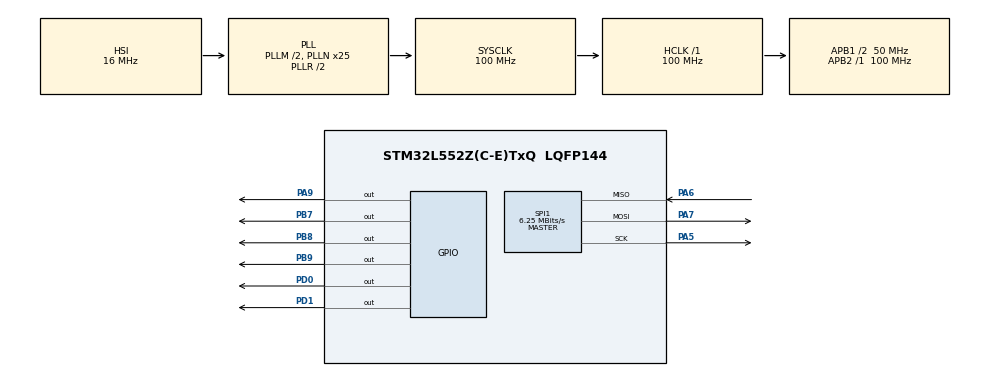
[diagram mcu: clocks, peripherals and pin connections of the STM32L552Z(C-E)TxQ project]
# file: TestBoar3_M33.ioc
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Mcu.Family=STM32L5
Mcu.Name=STM32L552Z(C-E)TxQ
Mcu.Package=LQFP144
NVIC.PriorityGroup=NVIC_PRIORITYGROUP_3
PA5.Mode=Full_Duplex_Master
PA5.Signal=SPI1_SCK
PA6.Mode=Full_Duplex_Master
PA6.Signal=SPI1_MISO
PA7.Mode=Full_Duplex_Master
PA7.Signal=SPI1_MOSI
PA9.Signal=GPIO_Output
PB7.Signal=GPIO_Output
PB8.PinAttribute=Free
PB8.Signal=GPIO_Output
PB9.PinAttribute=Free
PB9.Signal=GPIO_Output
PD0.Signal=GPIO_Output
PD1.Signal=GPIO_Output
PH0-OSC_IN\ (PH0).Mode=HSE-External-Oscillator
PH0-OSC_IN\ (PH0).Signal=RCC_OSC_IN
PH1-OSC_OUT\ (PH1).Mode=HSE-External-Oscillator
PH1-OSC_OUT\ (PH1).Signal=RCC_OSC_OUT
ProjectManager.HeapSize=0x200
ProjectManager.StackSize=0x400
ProjectManager.TargetToolchain=STM32CubeIDE
RCC.AHBFreq_Value=100000000
RCC.APB1CLKDivider=RCC_HCLK_DIV2
RCC.APB1Freq_Value=50000000
RCC.APB1TimFreq_Value=100000000
RCC.APB2Freq_Value=100000000
RCC.APB2TimFreq_Value=100000000
RCC.CortexFreq_Value=100000000
RCC.HCLKFreq_Value=100000000
RCC.HSE_VALUE=8000000
RCC.HSI48_VALUE=48000000
RCC.HSI_VALUE=16000000
RCC.LSE_VALUE=32768
RCC.MSI_VALUE=4000000
RCC.PLLM=2
RCC.PLLN=25
RCC.PLLSourceVirtual=RCC_PLLSOURCE_HSI
RCC.SYSCLKFreq_VALUE=100000000
RCC.SYSCLKSource=RCC_SYSCLKSOURCE_PLLCLK
RCC.VCOOutputFreq_Value=200000000
SPI1.BaudRatePrescaler=SPI_BAUDRATEPRESCALER_16
SPI1.CalculateBaudRate=6.25 MBits/s
SPI1.DataSize=SPI_DATASIZE_8BIT
SPI1.Direction=SPI_DIRECTION_2LINES
SPI1.Mode=SPI_MODE_MASTER
SPI1.VirtualType=VM_MASTER
VP_PWR_VS_DBSignals.Mode=DisableDeadBatterySignals
VP_PWR_VS_SECSignals.Mode=Security/Privilege
board=custom

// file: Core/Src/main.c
/* USER CODE BEGIN Header */
/**
  ******************************************************************************
  * @file           : main.c
  * @brief          : Main program body
  ******************************************************************************
  * @attention
  *
  * Copyright (c) 2022 STMicroelectronics.
  * All rights reserved.
  *
  * This software is licensed under terms that can be found in the LICENSE file
  * in the root directory of this software component.
  * If no LICENSE file comes with this software, it is provided AS-IS.
  *
  ******************************************************************************
  */
/* USER CODE END Header */
#include "main.h"

/* USER CODE BEGIN Includes */
#include "NRF24L01.h"
/* USER CODE END Includes */

SPI_HandleTypeDef hspi1;

void SystemClock_Config(void);
static void MX_GPIO_Init(void);
static void MX_SPI1_Init(void);

int main(void)
{

  /* MCU Configuration--------------------------------------------------------*/

  /* Reset of all peripherals, Initializes the Flash interface and the Systick. */
  HAL_Init();

  /* Configure the system clock */
  SystemClock_Config();

  /* Initialize all configured peripherals */
  MX_GPIO_Init();
  MX_SPI1_Init();
  /* USER CODE BEGIN 2 */

  NRF24_Init();
  uint8_t TxAddress[] = {0xEE,0xDD,0xCC,0xBB,0xAA};
  NRF24_TxMode(TxAddress, 10);
  //HAL_TIM_Base_Start(&htim2);
  //HAL_TIM_Base_Stop(&htim2);
  /* USER CODE END 2 */

  /* Infinite loop */
  /* USER CODE BEGIN WHILE */
  uint32_t tmp_uwTick;
  uint8_t cmdtosend = 0, TxData[4];

  HAL_Delay(500);
  CS_Select();
  cmdtosend = W_TX_PAYLOAD;
  HAL_SPI_Transmit(&hspi1, &cmdtosend, 1, 100);
  for (int i=0; i<4; i++){
  	TxData[i] = ((uwTick+2) >> 8*i) & 0b11111111;
  }
  tmp_uwTick=uwTick+2;
  while(uwTick!=tmp_uwTick);
  HAL_SPI_Transmit(&hspi1, TxData, 4, 1);
  CS_UnSelect();
  HAL_Delay(1);
  uint8_t fifostatus = nrf24_ReadReg(FIFO_STATUS);
  if ((fifostatus&(1<<4)) && (!(fifostatus&(1<<3)))){
	  HAL_GPIO_WritePin(GPIOB, GPIO_PIN_7, 1);
	  cmdtosend = FLUSH_TX;
	  nrfsendCmd(cmdtosend);
	  nrf24_reset(FIFO_STATUS);
  }

  while (1)
  {
	  HAL_GPIO_TogglePin(GPIOA, GPIO_PIN_9);
	  HAL_Delay(500);
    /* USER CODE END WHILE */

  }
}

void SystemClock_Config(void)
{
  RCC_OscInitTypeDef RCC_OscInitStruct = {0};
  RCC_ClkInitTypeDef RCC_ClkInitStruct = {0};

  /** Configure the main internal regulator output voltage
  */
  if (HAL_PWREx_ControlVoltageScaling(PWR_REGULATOR_VOLTAGE_SCALE0) != HAL_OK)
  {
    Error_Handler();
  }
  /** Initializes the RCC Oscillators according to the specified parameters
  * in the RCC_OscInitTypeDef structure.
  */
  RCC_OscInitStruct.OscillatorType = RCC_OSCILLATORTYPE_HSI;
  RCC_OscInitStruct.HSIState = RCC_HSI_ON;
  RCC_OscInitStruct.HSICalibrationValue = RCC_HSICALIBRATION_DEFAULT;
  RCC_OscInitStruct.PLL.PLLState = RCC_PLL_ON;
  RCC_OscInitStruct.PLL.PLLSource = RCC_PLLSOURCE_HSI;
  RCC_OscInitStruct.PLL.PLLM = 2;
  RCC_OscInitStruct.PLL.PLLN = 25;
  RCC_OscInitStruct.PLL.PLLP = RCC_PLLP_DIV7;
  RCC_OscInitStruct.PLL.PLLQ = RCC_PLLQ_DIV2;
  RCC_OscInitStruct.PLL.PLLR = RCC_PLLR_DIV2;
  if (HAL_RCC_OscConfig(&RCC_OscInitStruct) != HAL_OK)
  {
    Error_Handler();
  }
  /** Initializes the CPU, AHB and APB buses clocks
  */
  RCC_ClkInitStruct.ClockType = RCC_CLOCKTYPE_HCLK|RCC_CLOCKTYPE_SYSCLK
                              |RCC_CLOCKTYPE_PCLK1|RCC_CLOCKTYPE_PCLK2;
  RCC_ClkInitStruct.SYSCLKSource = RCC_SYSCLKSOURCE_PLLCLK;
  RCC_ClkInitStruct.AHBCLKDivider = RCC_SYSCLK_DIV1;
  RCC_ClkInitStruct.APB1CLKDivider = RCC_HCLK_DIV2;
  RCC_ClkInitStruct.APB2CLKDivider = RCC_HCLK_DIV1;

  if (HAL_RCC_ClockConfig(&RCC_ClkInitStruct, FLASH_LATENCY_4) != HAL_OK)
  {
    Error_Handler();
  }
}

static void MX_SPI1_Init(void)
{

  /* SPI1 parameter configuration*/
  hspi1.Instance = SPI1;
  hspi1.Init.Mode = SPI_MODE_MASTER;
  hspi1.Init.Direction = SPI_DIRECTION_2LINES;
  hspi1.Init.DataSize = SPI_DATASIZE_8BIT;
  hspi1.Init.CLKPolarity = SPI_POLARITY_LOW;
  hspi1.Init.CLKPhase = SPI_PHASE_1EDGE;
  hspi1.Init.NSS = SPI_NSS_SOFT;
  hspi1.Init.BaudRatePrescaler = SPI_BAUDRATEPRESCALER_16;
  hspi1.Init.FirstBit = SPI_FIRSTBIT_MSB;
  hspi1.Init.TIMode = SPI_TIMODE_DISABLE;
  hspi1.Init.CRCCalculation = SPI_CRCCALCULATION_DISABLE;
  hspi1.Init.CRCPolynomial = 7;
  hspi1.Init.CRCLength = SPI_CRC_LENGTH_DATASIZE;
  hspi1.Init.NSSPMode = SPI_NSS_PULSE_ENABLE;
  if (HAL_SPI_Init(&hspi1) != HAL_OK)
  {
    Error_Handler();
  }

}

static void MX_GPIO_Init(void)
{
  GPIO_InitTypeDef GPIO_InitStruct = {0};

  /* GPIO Ports Clock Enable */
  __HAL_RCC_GPIOH_CLK_ENABLE();
  __HAL_RCC_GPIOA_CLK_ENABLE();
  __HAL_RCC_GPIOD_CLK_ENABLE();
  __HAL_RCC_GPIOB_CLK_ENABLE();

  /*Configure GPIO pin Output Level */
  HAL_GPIO_WritePin(GPIOA, GPIO_PIN_9, GPIO_PIN_RESET);

  /*Configure GPIO pin Output Level */
  HAL_GPIO_WritePin(GPIOD, GPIO_PIN_0|GPIO_PIN_1, GPIO_PIN_RESET);

  /*Configure GPIO pin Output Level */
  HAL_GPIO_WritePin(GPIOB, GPIO_PIN_7|GPIO_PIN_8|GPIO_PIN_9, GPIO_PIN_RESET);

  /*Configure GPIO pin : PA9 */
  GPIO_InitStruct.Pin = GPIO_PIN_9;
  GPIO_InitStruct.Mode = GPIO_MODE_OUTPUT_PP;
  GPIO_InitStruct.Pull = GPIO_NOPULL;
  GPIO_InitStruct.Speed = GPIO_SPEED_FREQ_LOW;
  HAL_GPIO_Init(GPIOA, &GPIO_InitStruct);

  /*Configure GPIO pins : PD0 PD1 */
  GPIO_InitStruct.Pin = GPIO_PIN_0|GPIO_PIN_1;
  GPIO_InitStruct.Mode = GPIO_MODE_OUTPUT_PP;
  GPIO_InitStruct.Pull = GPIO_NOPULL;
  GPIO_InitStruct.Speed = GPIO_SPEED_FREQ_LOW;
  HAL_GPIO_Init(GPIOD, &GPIO_InitStruct);

  /*Configure GPIO pins : PB7 PB8 PB9 */
  GPIO_InitStruct.Pin = GPIO_PIN_7|GPIO_PIN_8|GPIO_PIN_9;
  GPIO_InitStruct.Mode = GPIO_MODE_OUTPUT_PP;
  GPIO_InitStruct.Pull = GPIO_NOPULL;
  GPIO_InitStruct.Speed = GPIO_SPEED_FREQ_LOW;
  HAL_GPIO_Init(GPIOB, &GPIO_InitStruct);

}

void Error_Handler(void)
{
  /* USER CODE BEGIN Error_Handler_Debug */
  /* User can add his 2 implementation to report the HAL error return state */
  __disable_irq();
  while (1)
  {
  }
  /* USER CODE END Error_Handler_Debug */
}
